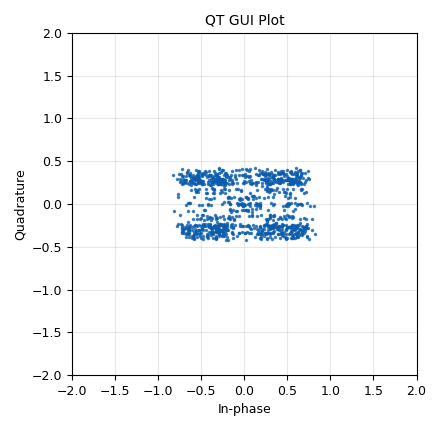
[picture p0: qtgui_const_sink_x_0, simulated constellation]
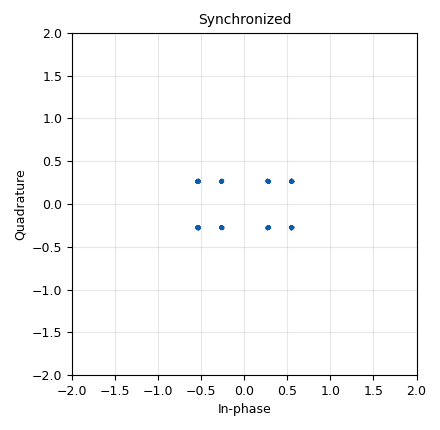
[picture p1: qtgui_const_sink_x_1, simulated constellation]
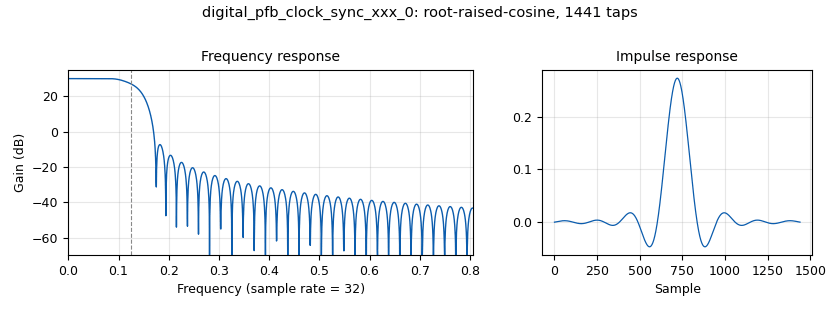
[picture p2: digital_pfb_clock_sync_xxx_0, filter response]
<?xml version='1.0' encoding='utf-8'?>
<?grc format='1' created='3.7.11'?>
<flow_graph>
<block>
<key>options</key>
<param><key>id</key><value>qpsk_tx_uhd</value></param>
<param><key>category</key><value>Custom</value></param>
<param><key>generate_options</key><value>qt_gui</value></param>
</block>
<block>
<key>variable</key>
<param><key>id</key><value>excess_bw</value></param>
<param><key>value</key><value>0.35</value></param>
</block>
<block>
<key>variable</key>
<param><key>id</key><value>freq</value></param>
<param><key>value</key><value>2.421e9</value></param>
</block>
<block>
<key>variable</key>
<param><key>id</key><value>gain</value></param>
<param><key>value</key><value>30</value></param>
</block>
<block>
<key>variable_qtgui_range</key>
<param><key>id</key><value>nfilts</value></param>
<param><key>value</key><value>32</value></param>
<param><key>orient</key><value>Qt.Horizontal</value></param>
<param><key>start</key><value>0</value></param>
<param><key>step</key><value>1</value></param>
<param><key>stop</key><value>100</value></param>
<param><key>rangeType</key><value>int</value></param>
</block>
<block>
<key>variable_constellation_rect</key>
<param><key>id</key><value>qpsk</value></param>
<param><key>const_points</key><value>[2+1j, -2+1j, -2-1j, 2-1j, 1+1j, -1+1j, -1-1j, 1-1j]</value></param>
<param><key>imag_sect</key><value>2</value></param>
<param><key>real_sect</key><value>2</value></param>
<param><key>rot_sym</key><value>4</value></param>
<param><key>sym_map</key><value>[0, 1, 2, 3, 4, 5, 6, 7]</value></param>
<param><key>w_imag_sect</key><value>1</value></param>
<param><key>w_real_sect</key><value>1</value></param>
</block>
<block>
<key>variable</key>
<param><key>id</key><value>samp_rate</value></param>
<param><key>value</key><value>320e3</value></param>
</block>
<block>
<key>variable</key>
<param><key>id</key><value>sps</value></param>
<param><key>value</key><value>4</value></param>
</block>
<block>
<key>analog_random_source_x</key>
<param><key>id</key><value>analog_random_source_x_0</value></param>
<param><key>max</key><value>255</value></param>
<param><key>min</key><value>0</value></param>
<param><key>num_samps</key><value>10000000</value></param>
<param><key>type</key><value>byte</value></param>
<param><key>repeat</key><value>True</value></param>
</block>
<block>
<key>blocks_multiply_const_vxx</key>
<param><key>id</key><value>blocks_multiply_const_vxx_0</value></param>
<param><key>const</key><value>0.5</value></param>
<param><key>type</key><value>complex</value></param>
</block>
<block>
<key>digital_constellation_modulator</key>
<param><key>id</key><value>digital_constellation_modulator_0</value></param>
<param><key>constellation</key><value>qpsk</value></param>
<param><key>differential</key><value>True</value></param>
<param><key>excess_bw</key><value>excess_bw</value></param>
<param><key>samples_per_symbol</key><value>sps</value></param>
</block>
<block>
<key>digital_pfb_clock_sync_xxx</key>
<param><key>id</key><value>digital_pfb_clock_sync_xxx_0</value></param>
<param><key>filter_size</key><value>32</value></param>
<param><key>init_phase</key><value>16</value></param>
<param><key>loop_bw</key><value>62.8e-3</value></param>
<param><key>max_dev</key><value>1.5</value></param>
<param><key>osps</key><value>1</value></param>
<param><key>sps</key><value>4</value></param>
<param><key>taps</key><value>firdes.root_raised_cosine(nfilts, nfilts, 1.0/float(sps), 0.35, 45*nfilts)</value></param>
<param><key>type</key><value>ccf</value></param>
</block>
<block>
<key>qtgui_const_sink_x</key>
<param><key>id</key><value>qtgui_const_sink_x_0</value></param>
<param><key>gui_hint</key><value>1,0</value></param>
<param><key>name</key><value>QT GUI Plot</value></param>
<param><key>size</key><value>1024</value></param>
<param><key>type</key><value>complex</value></param>
</block>
<block>
<key>qtgui_const_sink_x</key>
<param><key>id</key><value>qtgui_const_sink_x_1</value></param>
<param><key>gui_hint</key><value>1,2</value></param>
<param><key>name</key><value>"Synchronized"</value></param>
<param><key>size</key><value>1024</value></param>
<param><key>type</key><value>complex</value></param>
</block>
<connection><source_block_id>analog_random_source_x_0</source_block_id><sink_block_id>digital_constellation_modulator_0</sink_block_id><source_key>0</source_key><sink_key>0</sink_key></connection>
<connection><source_block_id>blocks_multiply_const_vxx_0</source_block_id><sink_block_id>digital_pfb_clock_sync_xxx_0</sink_block_id><source_key>0</source_key><sink_key>0</sink_key></connection>
<connection><source_block_id>blocks_multiply_const_vxx_0</source_block_id><sink_block_id>qtgui_const_sink_x_0</sink_block_id><source_key>0</source_key><sink_key>0</sink_key></connection>
<connection><source_block_id>digital_constellation_modulator_0</source_block_id><sink_block_id>blocks_multiply_const_vxx_0</sink_block_id><source_key>0</source_key><sink_key>0</sink_key></connection>
<connection><source_block_id>digital_pfb_clock_sync_xxx_0</source_block_id><sink_block_id>qtgui_const_sink_x_1</sink_block_id><source_key>0</source_key><sink_key>0</sink_key></connection>
</flow_graph>
